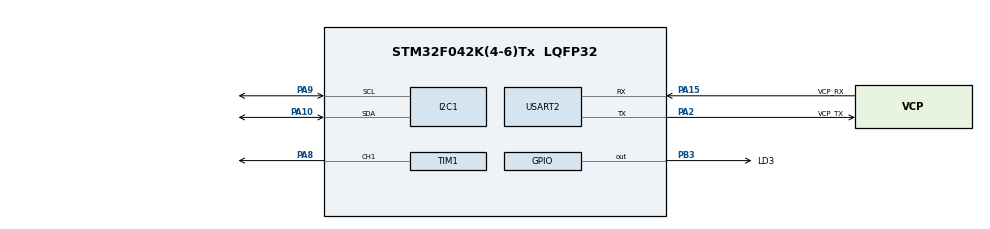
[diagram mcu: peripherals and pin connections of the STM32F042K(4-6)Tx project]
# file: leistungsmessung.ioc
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I2C1.Timing=0x00201D2B
Mcu.Family=STM32F0
Mcu.Name=STM32F042K(4-6)Tx
Mcu.Package=LQFP32
PA10.Mode=I2C
PA10.Signal=I2C1_SDA
PA13.GPIO_Label=SWDIO
PA13.Mode=Serial_Wire
PA13.Signal=SYS_SWDIO
PA14.GPIO_Label=SWCLK
PA14.Mode=Serial_Wire
PA14.Signal=SYS_SWCLK
PA15.GPIO_Label=VCP_RX
PA15.Mode=Asynchronous
PA15.Signal=USART2_RX
PA2.GPIO_Label=VCP_TX
PA2.Mode=Asynchronous
PA2.Signal=USART2_TX
PA8.Signal=S_TIM1_CH1
PA9.Mode=I2C
PA9.Signal=I2C1_SCL
PB3.GPIO_Label=LD3
PB3.Signal=GPIO_Output
PF0-OSC_IN.GPIO_Label=MCO
PF0-OSC_IN.Mode=HSE-External-Clock-Source
PF0-OSC_IN.Signal=RCC_OSC_IN
ProjectManager.HeapSize=0x200
ProjectManager.StackSize=0x400
ProjectManager.TargetToolchain=Makefile
SH.S_TIM1_CH1.0=TIM1_CH1,PWM Generation1 CH1
TIM1.Channel-PWM\ Generation1\ CH1=TIM_CHANNEL_1
TIM1.Period=1000
TIM1.Pulse-PWM\ Generation1\ CH1=500
TIM1.TIM_MasterOutputTrigger=TIM_TRGO_OC1REF
USART2.VirtualMode-Asynchronous=VM_ASYNC
board=NUCLEO-F042K6

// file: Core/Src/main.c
/* USER CODE BEGIN Header */
/**
 ******************************************************************************
 * @file           : main.c
 * @brief          : Main program body
 ******************************************************************************
 * @attention
 *
 * Copyright (c) 2026 STMicroelectronics.
 * All rights reserved.
 *
 * This software is licensed under terms that can be found in the LICENSE file
 * in the root directory of this software component.
 * If no LICENSE file comes with this software, it is provided AS-IS.
 *
 ******************************************************************************
 */
/* USER CODE END Header */
#include "main.h"

/* USER CODE BEGIN Includes */
#include <stdio.h>
#include <string.h>
#include <stdlib.h>

/* USER CODE END Includes */

I2C_HandleTypeDef hi2c1;

TIM_HandleTypeDef htim1;

UART_HandleTypeDef huart2;

/* USER CODE BEGIN PV */
#define INA219_ADDR (0x40 << 1) // = 0x80
#define INA219_REG_BUSVOLTAGE 0x02
#define INA219_REG_CALIBRATION 0x05
#define INA219_REG_CURRENT 0x04
#define INA219_REG_CONFIG 0x00

char msg[100];
int64_t current_sum_uA = 0;
uint32_t current_samples = 0;

uint32_t last_measurement = 0;
uint32_t last_output = 0;
/* USER CODE END PV */

void SystemClock_Config(void);
static void MX_GPIO_Init(void);
static void MX_USART2_UART_Init(void);
static void MX_TIM1_Init(void);
static void MX_I2C1_Init(void);

int main(void)
{

  /* MCU Configuration--------------------------------------------------------*/

  /* Reset of all peripherals, Initializes the Flash interface and the Systick. */
  HAL_Init();

  /* Configure the system clock */
  SystemClock_Config();

  /* Initialize all configured peripherals */
  MX_GPIO_Init();
  MX_USART2_UART_Init();
  MX_TIM1_Init();
  MX_I2C1_Init();
  /* USER CODE BEGIN 2 */

  uint16_t INA219_ReadRegister(uint8_t reg)
  {
    uint8_t data[2];

    HAL_I2C_Mem_Read(&hi2c1,
                     INA219_ADDR,
                     reg,
                     I2C_MEMADD_SIZE_8BIT,
                     data,
                     2,
                     HAL_MAX_DELAY);

    return (data[0] << 8) | data[1];
  }

  void INA219_WriteRegister(uint8_t reg, uint16_t value)
  {
    uint8_t data[3];

    data[0] = reg;
    data[1] = value >> 8;
    data[2] = value & 0xFF;

    HAL_I2C_Master_Transmit(&hi2c1,
                            INA219_ADDR,
                            data,
                            3,
                            HAL_MAX_DELAY);
  }
  void INA219_Init(void)
  {
    // Config:
    // 32V Range, 2A, 12-bit ADC
    uint16_t config = 0x3EEF;

    INA219_WriteRegister(INA219_REG_CONFIG, config);

    // Calibration
    INA219_WriteRegister(INA219_REG_CALIBRATION, 8192);
  }

  INA219_Init();

  sprintf(msg, "Zeit, U in mV, I in uA\r\n");
  HAL_UART_Transmit(&huart2, (uint8_t *)msg, strlen(msg), HAL_MAX_DELAY);
  /* USER CODE END 2 */

  /* Infinite loop */
  /* USER CODE BEGIN WHILE */
  while (1)
  {
    uint16_t rawV = INA219_ReadRegister(INA219_REG_BUSVOLTAGE);
    rawV >>= 3;
    int16_t mV = rawV * 4;

    int16_t rawI = (int16_t)INA219_ReadRegister(INA219_REG_CURRENT);
    float current_uA = rawI * 50.0f;
    sprintf(msg, "%lu,%d,%ld\r\n", HAL_GetTick(), mV, (int32_t)current_uA);
    HAL_UART_Transmit(&huart2, (uint8_t *)msg, strlen(msg), HAL_MAX_DELAY);
    HAL_Delay(99 - HAL_GetTick() % 100);

    /* USER CODE END WHILE */

  }
}

void SystemClock_Config(void)
{
  RCC_OscInitTypeDef RCC_OscInitStruct = {0};
  RCC_ClkInitTypeDef RCC_ClkInitStruct = {0};
  RCC_PeriphCLKInitTypeDef PeriphClkInit = {0};

  /** Initializes the RCC Oscillators according to the specified parameters
   * in the RCC_OscInitTypeDef structure.
   */
  RCC_OscInitStruct.OscillatorType = RCC_OSCILLATORTYPE_HSI;
  RCC_OscInitStruct.HSIState = RCC_HSI_ON;
  RCC_OscInitStruct.HSICalibrationValue = RCC_HSICALIBRATION_DEFAULT;
  RCC_OscInitStruct.PLL.PLLState = RCC_PLL_NONE;
  if (HAL_RCC_OscConfig(&RCC_OscInitStruct) != HAL_OK)
  {
    Error_Handler();
  }

  /** Initializes the CPU, AHB and APB buses clocks
   */
  RCC_ClkInitStruct.ClockType = RCC_CLOCKTYPE_HCLK | RCC_CLOCKTYPE_SYSCLK | RCC_CLOCKTYPE_PCLK1;
  RCC_ClkInitStruct.SYSCLKSource = RCC_SYSCLKSOURCE_HSI;
  RCC_ClkInitStruct.AHBCLKDivider = RCC_SYSCLK_DIV1;
  RCC_ClkInitStruct.APB1CLKDivider = RCC_HCLK_DIV1;

  if (HAL_RCC_ClockConfig(&RCC_ClkInitStruct, FLASH_LATENCY_0) != HAL_OK)
  {
    Error_Handler();
  }
  PeriphClkInit.PeriphClockSelection = RCC_PERIPHCLK_I2C1;
  PeriphClkInit.I2c1ClockSelection = RCC_I2C1CLKSOURCE_HSI;
  if (HAL_RCCEx_PeriphCLKConfig(&PeriphClkInit) != HAL_OK)
  {
    Error_Handler();
  }
}

static void MX_I2C1_Init(void)
{

  hi2c1.Instance = I2C1;
  hi2c1.Init.Timing = 0x00201D2B;
  hi2c1.Init.OwnAddress1 = 0;
  hi2c1.Init.AddressingMode = I2C_ADDRESSINGMODE_7BIT;
  hi2c1.Init.DualAddressMode = I2C_DUALADDRESS_DISABLE;
  hi2c1.Init.OwnAddress2 = 0;
  hi2c1.Init.OwnAddress2Masks = I2C_OA2_NOMASK;
  hi2c1.Init.GeneralCallMode = I2C_GENERALCALL_DISABLE;
  hi2c1.Init.NoStretchMode = I2C_NOSTRETCH_DISABLE;
  if (HAL_I2C_Init(&hi2c1) != HAL_OK)
  {
    Error_Handler();
  }

  /** Configure Analogue filter
   */
  if (HAL_I2CEx_ConfigAnalogFilter(&hi2c1, I2C_ANALOGFILTER_ENABLE) != HAL_OK)
  {
    Error_Handler();
  }

  /** Configure Digital filter
   */
  if (HAL_I2CEx_ConfigDigitalFilter(&hi2c1, 0) != HAL_OK)
  {
    Error_Handler();
  }
}

static void MX_TIM1_Init(void)
{

  TIM_MasterConfigTypeDef sMasterConfig = {0};
  TIM_OC_InitTypeDef sConfigOC = {0};
  TIM_BreakDeadTimeConfigTypeDef sBreakDeadTimeConfig = {0};

  htim1.Instance = TIM1;
  htim1.Init.Prescaler = 0;
  htim1.Init.CounterMode = TIM_COUNTERMODE_UP;
  htim1.Init.Period = 1000;
  htim1.Init.ClockDivision = TIM_CLOCKDIVISION_DIV1;
  htim1.Init.RepetitionCounter = 0;
  htim1.Init.AutoReloadPreload = TIM_AUTORELOAD_PRELOAD_DISABLE;
  if (HAL_TIM_PWM_Init(&htim1) != HAL_OK)
  {
    Error_Handler();
  }
  sMasterConfig.MasterOutputTrigger = TIM_TRGO_OC1REF;
  sMasterConfig.MasterSlaveMode = TIM_MASTERSLAVEMODE_DISABLE;
  if (HAL_TIMEx_MasterConfigSynchronization(&htim1, &sMasterConfig) != HAL_OK)
  {
    Error_Handler();
  }
  sConfigOC.OCMode = TIM_OCMODE_PWM1;
  sConfigOC.Pulse = 500;
  sConfigOC.OCPolarity = TIM_OCPOLARITY_HIGH;
  sConfigOC.OCNPolarity = TIM_OCNPOLARITY_HIGH;
  sConfigOC.OCFastMode = TIM_OCFAST_DISABLE;
  sConfigOC.OCIdleState = TIM_OCIDLESTATE_RESET;
  sConfigOC.OCNIdleState = TIM_OCNIDLESTATE_RESET;
  if (HAL_TIM_PWM_ConfigChannel(&htim1, &sConfigOC, TIM_CHANNEL_1) != HAL_OK)
  {
    Error_Handler();
  }
  sBreakDeadTimeConfig.OffStateRunMode = TIM_OSSR_DISABLE;
  sBreakDeadTimeConfig.OffStateIDLEMode = TIM_OSSI_DISABLE;
  sBreakDeadTimeConfig.LockLevel = TIM_LOCKLEVEL_OFF;
  sBreakDeadTimeConfig.DeadTime = 0;
  sBreakDeadTimeConfig.BreakState = TIM_BREAK_DISABLE;
  sBreakDeadTimeConfig.BreakPolarity = TIM_BREAKPOLARITY_HIGH;
  sBreakDeadTimeConfig.AutomaticOutput = TIM_AUTOMATICOUTPUT_DISABLE;
  if (HAL_TIMEx_ConfigBreakDeadTime(&htim1, &sBreakDeadTimeConfig) != HAL_OK)
  {
    Error_Handler();
  }
  HAL_TIM_MspPostInit(&htim1);
}

static void MX_USART2_UART_Init(void)
{

  huart2.Instance = USART2;
  huart2.Init.BaudRate = 38400;
  huart2.Init.WordLength = UART_WORDLENGTH_8B;
  huart2.Init.StopBits = UART_STOPBITS_1;
  huart2.Init.Parity = UART_PARITY_NONE;
  huart2.Init.Mode = UART_MODE_TX_RX;
  huart2.Init.HwFlowCtl = UART_HWCONTROL_NONE;
  huart2.Init.OverSampling = UART_OVERSAMPLING_16;
  huart2.Init.OneBitSampling = UART_ONE_BIT_SAMPLE_DISABLE;
  huart2.AdvancedInit.AdvFeatureInit = UART_ADVFEATURE_NO_INIT;
  if (HAL_UART_Init(&huart2) != HAL_OK)
  {
    Error_Handler();
  }
}

static void MX_GPIO_Init(void)
{
  GPIO_InitTypeDef GPIO_InitStruct = {0};

  /* GPIO Ports Clock Enable */
  __HAL_RCC_GPIOF_CLK_ENABLE();
  __HAL_RCC_GPIOA_CLK_ENABLE();
  __HAL_RCC_GPIOB_CLK_ENABLE();

  /*Configure GPIO pin Output Level */
  HAL_GPIO_WritePin(LD3_GPIO_Port, LD3_Pin, GPIO_PIN_RESET);

  /*Configure GPIO pin : LD3_Pin */
  GPIO_InitStruct.Pin = LD3_Pin;
  GPIO_InitStruct.Mode = GPIO_MODE_OUTPUT_PP;
  GPIO_InitStruct.Pull = GPIO_NOPULL;
  GPIO_InitStruct.Speed = GPIO_SPEED_FREQ_LOW;
  HAL_GPIO_Init(LD3_GPIO_Port, &GPIO_InitStruct);

}

void Error_Handler(void)
{
  __disable_irq();
  while (1)
  {
  }
}
